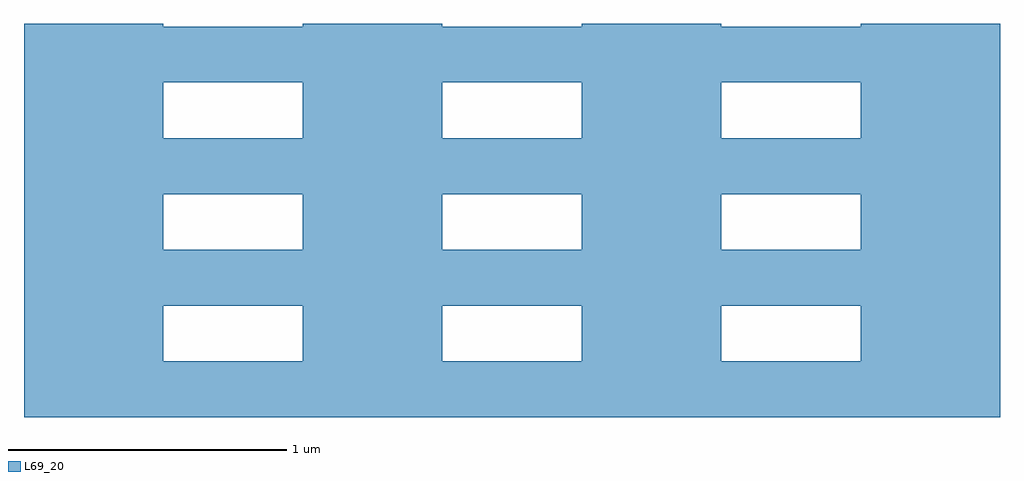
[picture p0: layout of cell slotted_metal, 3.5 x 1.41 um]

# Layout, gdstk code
import gdstk
lib = gdstk.Library(unit=1e-6, precision=1e-09)
def R(c, l, rs):  # rectangles x0, y0, x1, y1
    for r in rs: c.add(gdstk.rectangle(r[:2], r[2:], *l))
def A(c, l, x, y, w, h, nx, ny, dx, dy):  # array of equal rectangles
    R(c, l, [(x+i*dx, y+j*dy, x+i*dx+w, y+j*dy+h) for i in range(nx) for j in range(ny)])
L69_20 = (69, 20)

slotted_metal = lib.new_cell('slotted_metal')
A(slotted_metal, L69_20, 0, 0, 3, 0.2, 1, 4, 0, 0.4)
A(slotted_metal, L69_20, 0, 0, 0.5, 1.41, 4, 1, 1, 0)

lib.write_gds('slotted_metal.gds')
